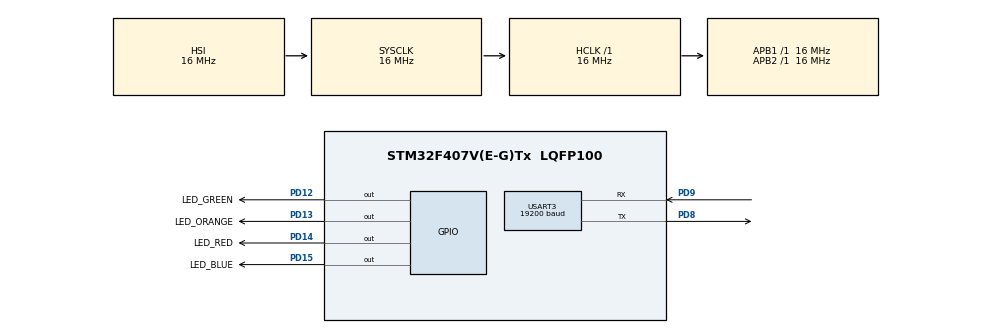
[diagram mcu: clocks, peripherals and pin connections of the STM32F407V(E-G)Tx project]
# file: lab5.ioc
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Mcu.Family=STM32F4
Mcu.Name=STM32F407V(E-G)Tx
Mcu.Package=LQFP100
NVIC.PriorityGroup=NVIC_PRIORITYGROUP_4
PD12.GPIO_Label=LED_GREEN
PD12.Signal=GPIO_Output
PD13.GPIO_Label=LED_ORANGE
PD13.Signal=GPIO_Output
PD14.GPIO_Label=LED_RED
PD14.Signal=GPIO_Output
PD15.GPIO_Label=LED_BLUE
PD15.Signal=GPIO_Output
PD8.Mode=Asynchronous
PD8.Signal=USART3_TX
PD9.Mode=Asynchronous
PD9.Signal=USART3_RX
ProjectManager.HeapSize=0x200
ProjectManager.StackSize=0x400
ProjectManager.TargetToolchain=STM32CubeIDE
RCC.AHBFreq_Value=16000000
RCC.APB1Freq_Value=16000000
RCC.APB2Freq_Value=16000000
RCC.CortexFreq_Value=16000000
RCC.HSE_VALUE=25000000
RCC.HSI_VALUE=16000000
RCC.LSE_VALUE=32768
RCC.SYSCLKFreq_VALUE=16000000
RCC.VCOOutputFreq_Value=192000000
USART3.BaudRate=19200
USART3.VirtualMode=VM_ASYNC
board=custom

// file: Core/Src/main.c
/* USER CODE BEGIN Header */
/**
  ******************************************************************************
  * @file           : main.c
  * @brief          : Main program body
  ******************************************************************************
  * @attention
  *
  * Copyright (c) 2025 STMicroelectronics.
  * All rights reserved.
  *
  * This software is licensed under terms that can be found in the LICENSE file
  * in the root directory of this software component.
  * If no LICENSE file comes with this software, it is provided AS-IS.
  *
  ******************************************************************************
  */
/* USER CODE END Header */
#include "main.h"

/* USER CODE BEGIN PD */
#define GREEN  0b0001
#define ORANGE 0b0010
#define RED    0b0100
#define BLUE   0b1000
/* USER CODE END PD */

UART_HandleTypeDef huart3;

void SystemClock_Config(void);
static void MX_GPIO_Init(void);
static void MX_USART3_UART_Init(void);

/* USER CODE BEGIN 0 */
void setLEDs(unsigned mask){
  HAL_GPIO_WritePin(GPIOD, LED_GREEN_Pin, mask & GREEN?GPIO_PIN_SET:GPIO_PIN_RESET);
  HAL_GPIO_WritePin(GPIOD, LED_ORANGE_Pin, mask & ORANGE?GPIO_PIN_SET:GPIO_PIN_RESET);
  HAL_GPIO_WritePin(GPIOD, LED_RED_Pin, mask & RED?GPIO_PIN_SET:GPIO_PIN_RESET);
  HAL_GPIO_WritePin(GPIOD, LED_BLUE_Pin, mask & BLUE?GPIO_PIN_SET:GPIO_PIN_RESET);
}
/* USER CODE END 0 */

int main(void)
{

  /* USER CODE BEGIN 1 */
  unsigned mask = 0;
  /* USER CODE END 1 */

  /* MCU Configuration--------------------------------------------------------*/

  /* Reset of all peripherals, Initializes the Flash interface and the Systick. */
  HAL_Init();

  /* Configure the system clock */
  SystemClock_Config();

  /* Initialize all configured peripherals */
  MX_GPIO_Init();
  MX_USART3_UART_Init();

  /* Infinite loop */
  /* USER CODE BEGIN WHILE */
  while (1)
  {
    uint8_t rcvBuf;
    HAL_StatusTypeDef result;

    result = HAL_UART_Receive(&huart3, &rcvBuf, 1, 10);

    if(result == HAL_OK){
      switch(rcvBuf){
        case 'r':
          mask ^= RED;
          HAL_UART_Transmit(&huart3, (uint8_t *)"Red toggled\r\n", 13, 100);
          break;
        case 'g':
          mask ^= GREEN;
          HAL_UART_Transmit(&huart3, (uint8_t *)"Green toggled\r\n", 15, 100);
          break;
        case 'b':
          mask ^= BLUE;
          HAL_UART_Transmit(&huart3, (uint8_t *)"Blue toggled\r\n", 14, 100);
          break;
        case 'o':
          mask ^= ORANGE;
          HAL_UART_Transmit(&huart3, (uint8_t *)"Orange toggled\r\n", 16, 100);
          break;
        case 'A':
          mask = RED | GREEN | BLUE | ORANGE;
          HAL_UART_Transmit(&huart3, (uint8_t *)"All ON\r\n", 8, 100);
          break;
        case 'N':
          mask = 0;
          HAL_UART_Transmit(&huart3, (uint8_t *)"All OFF\r\n", 9, 100);
          break;

        default:
          HAL_UART_Transmit(&huart3, (uint8_t *)"Unknown command\r\n", 17, 100);
          break;
      }
      setLEDs(mask);
    }
    /* USER CODE END WHILE */

  }
}

void SystemClock_Config(void)
{
  RCC_OscInitTypeDef RCC_OscInitStruct = {0};
  RCC_ClkInitTypeDef RCC_ClkInitStruct = {0};

  /** Configure the main internal regulator output voltage
  */
  __HAL_RCC_PWR_CLK_ENABLE();
  __HAL_PWR_VOLTAGESCALING_CONFIG(PWR_REGULATOR_VOLTAGE_SCALE1);

  /** Initializes the RCC Oscillators according to the specified parameters
  * in the RCC_OscInitTypeDef structure.
  */
  RCC_OscInitStruct.OscillatorType = RCC_OSCILLATORTYPE_HSI;
  RCC_OscInitStruct.HSIState = RCC_HSI_ON;
  RCC_OscInitStruct.HSICalibrationValue = RCC_HSICALIBRATION_DEFAULT;
  RCC_OscInitStruct.PLL.PLLState = RCC_PLL_NONE;
  if (HAL_RCC_OscConfig(&RCC_OscInitStruct) != HAL_OK)
  {
    Error_Handler();
  }

  /** Initializes the CPU, AHB and APB buses clocks
  */
  RCC_ClkInitStruct.ClockType = RCC_CLOCKTYPE_HCLK|RCC_CLOCKTYPE_SYSCLK
                              |RCC_CLOCKTYPE_PCLK1|RCC_CLOCKTYPE_PCLK2;
  RCC_ClkInitStruct.SYSCLKSource = RCC_SYSCLKSOURCE_HSI;
  RCC_ClkInitStruct.AHBCLKDivider = RCC_SYSCLK_DIV1;
  RCC_ClkInitStruct.APB1CLKDivider = RCC_HCLK_DIV1;
  RCC_ClkInitStruct.APB2CLKDivider = RCC_HCLK_DIV1;

  if (HAL_RCC_ClockConfig(&RCC_ClkInitStruct, FLASH_LATENCY_0) != HAL_OK)
  {
    Error_Handler();
  }
}

static void MX_USART3_UART_Init(void)
{

  huart3.Instance = USART3;
  huart3.Init.BaudRate = 19200;
  huart3.Init.WordLength = UART_WORDLENGTH_8B;
  huart3.Init.StopBits = UART_STOPBITS_1;
  huart3.Init.Parity = UART_PARITY_NONE;
  huart3.Init.Mode = UART_MODE_TX_RX;
  huart3.Init.HwFlowCtl = UART_HWCONTROL_NONE;
  huart3.Init.OverSampling = UART_OVERSAMPLING_16;
  if (HAL_UART_Init(&huart3) != HAL_OK)
  {
    Error_Handler();
  }

}

static void MX_GPIO_Init(void)
{
  GPIO_InitTypeDef GPIO_InitStruct = {0};

  /* GPIO Ports Clock Enable */
  __HAL_RCC_GPIOD_CLK_ENABLE();

  /*Configure GPIO pin Output Level */
  HAL_GPIO_WritePin(GPIOD, LED_GREEN_Pin|LED_ORANGE_Pin|LED_RED_Pin|LED_BLUE_Pin, GPIO_PIN_RESET);

  /*Configure GPIO pins : LED_GREEN_Pin LED_ORANGE_Pin LED_RED_Pin LED_BLUE_Pin */
  GPIO_InitStruct.Pin = LED_GREEN_Pin|LED_ORANGE_Pin|LED_RED_Pin|LED_BLUE_Pin;
  GPIO_InitStruct.Mode = GPIO_MODE_OUTPUT_PP;
  GPIO_InitStruct.Pull = GPIO_NOPULL;
  GPIO_InitStruct.Speed = GPIO_SPEED_FREQ_LOW;
  HAL_GPIO_Init(GPIOD, &GPIO_InitStruct);

}

void Error_Handler(void)
{
  __disable_irq();
  while (1)
  {
  }
}
